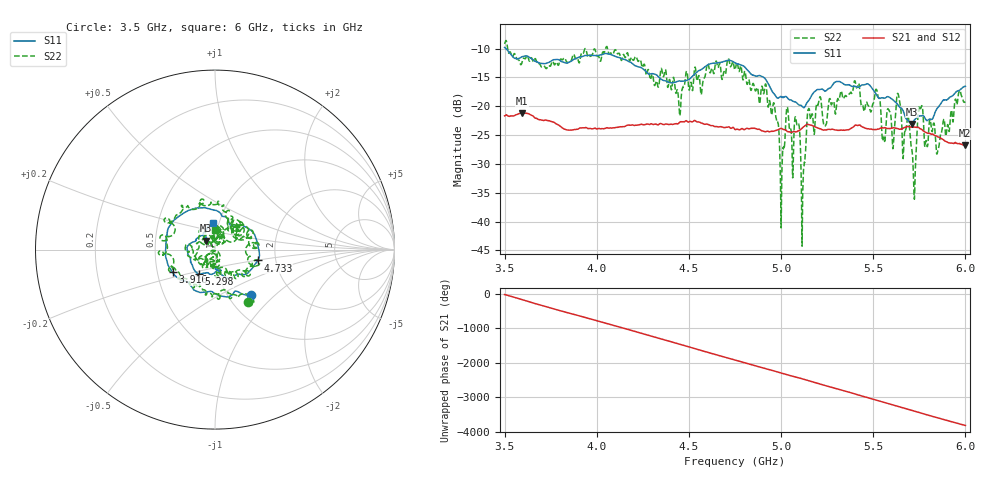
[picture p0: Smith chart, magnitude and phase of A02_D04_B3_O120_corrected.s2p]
! Created with skrf 1.9.0 (http://scikit-rf.org).
# Hz S RI R 50.0
!freq ReS11 ImS11 ReS21 ImS21 ReS12 ImS12 ReS22 ImS22
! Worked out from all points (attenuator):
!   1601 points, 3.5 GHz to 6 GHz, reference 50 ohm
!   highest |S21| = -21.19 dB at 3.592 GHz (marker M1); lowest = -26.8 dB at 5.997 GHz (marker M2)
!   lowest |S11| = -23.1 dB at 5.708 GHz (marker M3), VSWR 1.15, Z = 45.1 + j4.55 ohm
!   |S11| at or under -10 dB: 3.507 GHz to end of sweep
!   |S22| runs from -44.3 to -8.6 dB; largest |S21 - S12| = 0.0012
!   S11 on the Smith chart (normalised r, x): 3.5 GHz: 1.27, -0.72; 3.916 GHz: 0.60, -0.16; 4.733 GHz: 1.61, -0.21; 5.298 GHz: 0.80, -0.22; 6 GHz: 0.93, +0.28
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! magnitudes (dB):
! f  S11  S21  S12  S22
! 3.5 GHz  -9.8  -21.7  -21.6  -9.2
! 3.592 GHz  -11.5  -21.2  -21.2  -12.6
! 3.916 GHz  -11.4  -23.8  -23.7  -11.0
! 3.917 GHz  -11.4  -23.8  -23.7  -10.8
! 4.334 GHz  -14.9  -23.2  -23.1  -16.7
! 4.733 GHz  -12.2  -23.8  -23.8  -12.7
! 4.75 GHz  -12.5  -24.1  -24.0  -13.7
! 4.966 GHz  -18.0  -24.3  -24.2  -20.2
! 5.005 GHz  -18.3  -23.9  -23.9  -30.9
! 5.033 GHz  -18.5  -24.4  -24.3  -20.1
! 5.086 GHz  -19.5  -24.4  -24.4  -23.2
! 5.12 GHz  -20.2  -23.6  -23.5  -32.1
! 5.167 GHz  -18.1  -23.3  -23.3  -21.4
! 5.298 GHz  -15.8  -24.1  -24.1  -20.7
! 5.584 GHz  -18.4  -23.9  -23.8  -20.6
! 5.638 GHz  -19.9  -23.9  -23.9  -18.2
! 5.708 GHz  -23.1  -23.6  -23.6  -27.3
! 5.725 GHz  -22.3  -23.6  -23.5  -34.9
! 5.756 GHz  -21.7  -23.9  -23.8  -20.4
! 5.85 GHz  -20.3  -25.3  -25.2  -27.7
! 5.997 GHz  -16.6  -26.8  -26.7  -19.3
! 6 GHz  -16.5  -26.8  -26.7  -19.3
